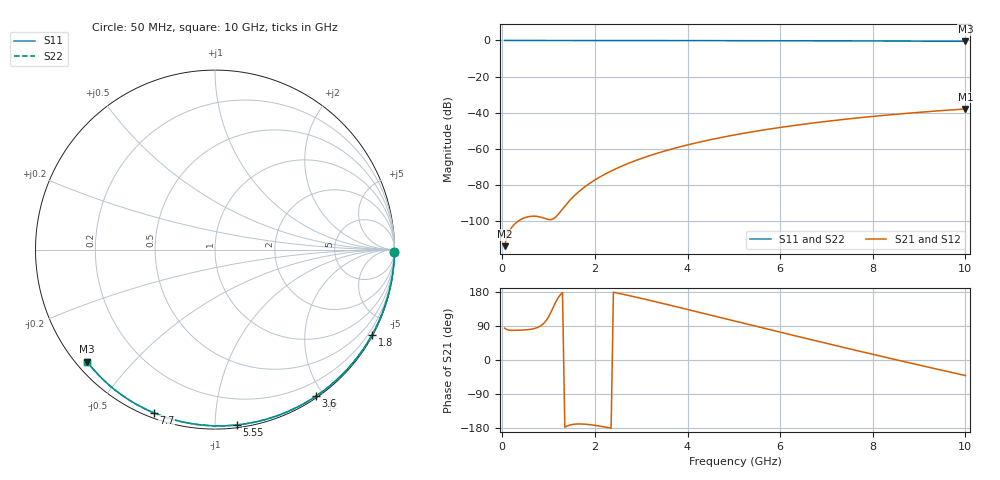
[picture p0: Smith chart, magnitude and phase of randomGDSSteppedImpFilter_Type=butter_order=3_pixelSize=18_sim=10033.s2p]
! freq	dB(S11)	phase(S11)	dB(S12)	phase(S12)
!  dB(S21)	phase(S21)	dB(S22)	phase(S22)
!S-par simulation data
#  GHz  S  DB  R 50
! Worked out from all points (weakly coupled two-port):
!   200 points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, 50 MHz to 10 GHz, reference 50 ohm
!   highest |S21| = -37.95 dB at 10 GHz (marker M1); lowest = -114.0 dB at 50 MHz (marker M2)
!   lowest |S11| = -0.5 dB at 10 GHz (marker M3), VSWR 37.13, Z = 1.54 - j18.8 ohm
!   |S11| at or under -10 dB: nowhere
!   |S22| runs from -0.5 to 0.0 dB; largest |S21 - S12| = 0
!   S11 on the Smith chart (normalised r, x): 50 MHz: open; 1.8 GHz: 0.03, -3.95; 3.6 GHz: 0.02, -1.90; 5.55 GHz: 0.02, -1.13; 7.7 GHz: 0.02, -0.69; 10 GHz: 0.03, -0.38
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0.05  -0.00 -0.8  -114.01 83.9  -114.01 83.9  -0.00 -0.8
0.45  -0.01 -7.2  -98.59 79.2  -98.59 79.2  -0.01 -7.2
0.9  -0.02 -14.4  -98.49 97.3  -98.49 97.3  -0.02 -14.4
1.75  -0.04 -27.7  -81.74 -169.1  -81.74 -169.1  -0.04 -27.7
1.8  -0.04 -28.4  -80.77 -169.6  -80.77 -169.6  -0.04 -28.4
1.85  -0.04 -29.2  -79.85 -170.1  -79.85 -170.1  -0.04 -29.2
2  -0.04 -31.5  -77.30 -172.4  -77.30 -172.4  -0.04 -31.5
2.15  -0.04 -33.8  -75.03 -175.4  -75.03 -175.4  -0.04 -33.8
2.35  -0.05 -36.9  -72.35 -180.0  -72.35 -180.0  -0.05 -36.9
2.55  -0.05 -39.9  -69.97 175.0  -69.97 175.0  -0.05 -39.9
2.95  -0.06 -45.9  -65.89 164.1  -65.89 164.1  -0.06 -45.9
3.4  -0.07 -52.6  -62.08 151.1  -62.08 151.1  -0.07 -52.6
3.6  -0.07 -55.5  -60.59 145.3  -60.59 145.3  -0.07 -55.5
4.3  -0.09 -65.6  -56.08 124.4  -56.08 124.4  -0.09 -65.6
5.05  -0.12 -76.1  -52.19 101.9  -52.19 101.9  -0.12 -76.1
5.55  -0.14 -82.9  -49.99 86.9  -49.99 86.9  -0.14 -82.9
6.1  -0.16 -90.2  -47.84 70.5  -47.84 70.5  -0.16 -90.2
6.7  -0.19 -98.0  -45.78 52.8  -45.78 52.8  -0.19 -98.0
7.7  -0.25 -110.6  -42.87 23.6  -42.87 23.6  -0.25 -110.6
8.35  -0.30 -118.7  -41.25 5.0  -41.25 5.0  -0.30 -118.7
9.2  -0.38 -129.0  -39.43 -18.9  -39.43 -18.9  -0.38 -129.0
10  -0.47 -138.8  -37.95 -41.0  -37.95 -41.0  -0.47 -138.7
